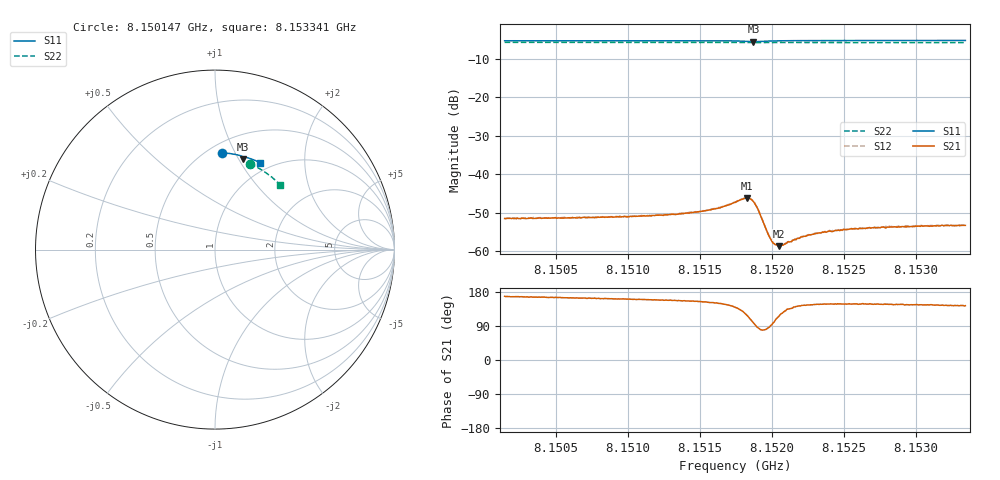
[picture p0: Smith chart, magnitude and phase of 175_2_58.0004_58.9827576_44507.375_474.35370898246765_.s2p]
#  HZ  S  RI  R  50.00
! Rohde & Schwarz Vector Network Analyzer
! Rohde-Schwarz,ZNB20-2Port,1311601062101988,3.16
! Created: UTC 3/21/2024, 12:58:06 AM
! freq[Hz]  re:S11  im:S11  re:S21  im:S21  re:S12  im:S12  re:S22  im:S22
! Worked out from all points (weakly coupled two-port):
!   401 points, 8.150147 GHz to 8.153341 GHz, reference 50 ohm
!   highest |S21| = -46.16 dB at 8.151824 GHz (marker M1); lowest = -58.7 dB at 8.152047 GHz (marker M2)
!   lowest |S11| = -5.6 dB at 8.151872 GHz (marker M3), VSWR 3.21, Z = 37.4 + j51.9 ohm
!   |S11| at or under -10 dB: nowhere
!   |S22| runs from -5.8 to -5.8 dB; largest |S21 - S12| = 0.00013
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8.150147e9  0.0416 0.5391  -0.0026 0.000548  -0.00261 0.000617  0.1957 0.4772
8.150682e9  0.0792 0.5358  -0.00261 0.000776  -0.00262 0.000814  0.2269 0.4624
8.151217e9  0.1169 0.5295  -0.00273 0.00109  -0.00274 0.00113  0.257 0.4456
8.1513368e9  0.1254 0.5277  -0.00278 0.00118  -0.0028 0.00126  0.2636 0.4415
8.1515444e9  0.1409 0.5233  -0.00301 0.00152  -0.003 0.00159  0.2748 0.4342
8.1516402e9  0.1484 0.5204  -0.00314 0.00187  -0.00315 0.00193  0.2798 0.4307
8.151744e9  0.1569 0.5146  -0.00326 0.0028  -0.00327 0.00287  0.2855 0.4269
8.1518239e9  0.1595 0.5054  -0.00241 0.00429  -0.00232 0.00432  0.2896 0.4236
8.1518478e9  0.1574 0.5027  -0.00156 0.00455  -0.0015 0.00459  0.2903 0.4227
8.1518718e9  0.1542 0.5023  -0.000592 0.00438  -0.000546 0.00443  0.2914 0.4218
8.1519037e9  0.1512 0.5052  0.000311 0.00348  0.00036 0.0035  0.293 0.4208
8.1519676e9  0.1542 0.5123  0.000209 0.00175  0.000228 0.00179  0.2963 0.4188
8.1519916e9  0.1566 0.5136  -2.96e-05 0.00144  -2.49e-06 0.00145  0.2978 0.4178
8.1520155e9  0.159 0.5143  -0.000224 0.00124  -0.000214 0.00122  0.2989 0.417
8.1520474e9  0.1623 0.5149  -0.000491 0.00106  -0.000476 0.00111  0.3007 0.416
8.1520714e9  0.1646 0.5149  -0.000662 0.001  -0.00066 0.00102  0.3021 0.4149
8.1521912e9  0.1749 0.5135  -0.00117 0.00089  -0.00116 0.000926  0.3081 0.4102
8.152279e9  0.1816 0.5118  -0.00137 0.000941  -0.00137 0.000962  0.3126 0.4069
8.1524148e9  0.1916 0.5089  -0.00152 0.000956  -0.00153 0.000989  0.3193 0.4013
8.1525505e9  0.201 0.5055  -0.00167 0.00106  -0.00163 0.00105  0.326 0.3958
8.152814e9  0.2186 0.4989  -0.00172 0.00113  -0.00176 0.00118  0.3385 0.3846
8.1533411e9  0.2522 0.4838  -0.00174 0.00129  -0.00175 0.00131  0.3624 0.361
